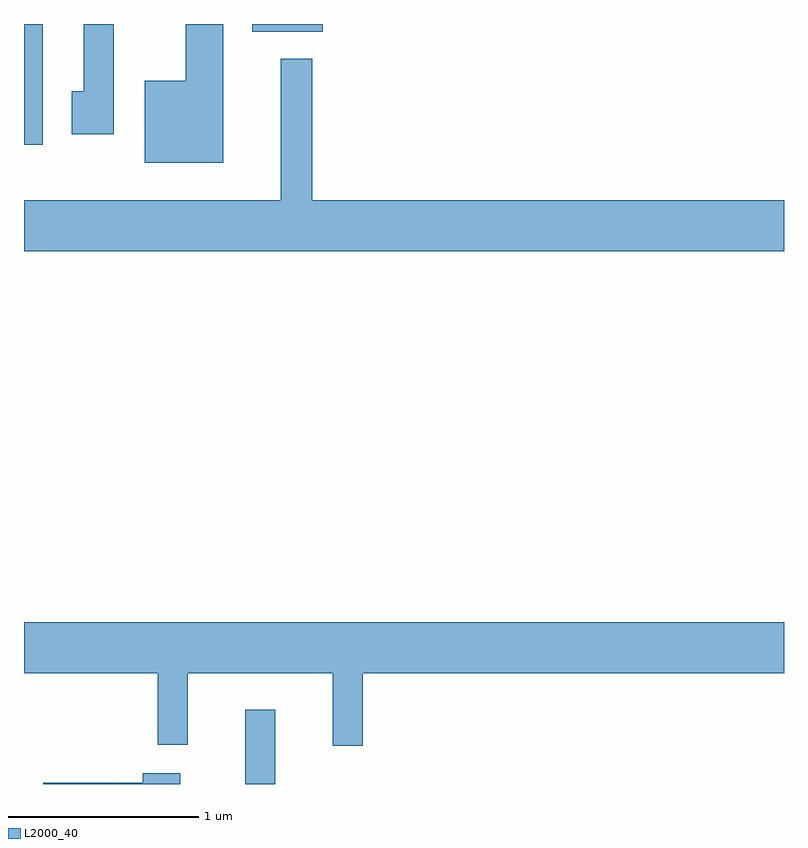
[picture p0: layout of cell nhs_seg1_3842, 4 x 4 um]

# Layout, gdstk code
import gdstk
lib = gdstk.Library(unit=1e-6, precision=1e-09)
def R(c, l, rs):  # rectangles x0, y0, x1, y1
    for r in rs: c.add(gdstk.rectangle(r[:2], r[2:], *l))
def P(c, l, *ps):  # polygons
    for p in ps: c.add(gdstk.Polygon(p, *l))
L2000_40 = (2000, 40)

nhs_seg1_3842 = lib.new_cell('nhs_seg1_3842')
R(nhs_seg1_3842, L2000_40, [(302.776,845.712,302.934,846.103), (301.611,849.076,301.709,849.712), (302.811,849.671,303.184,849.712)])
P(nhs_seg1_3842, L2000_40, [(302.659,849.712),(302.461,849.712),(302.461,849.414),(302.246,849.414),(302.246,848.981),(302.659,848.981)],
  [(302.084,849.712),(301.926,849.712),(301.926,849.359),(301.861,849.359),(301.861,849.131),(302.084,849.131)],
  [(305.611,848.784),(303.129,848.784),(303.129,849.528),(302.961,849.528),(302.961,848.784),(301.611,848.784),(301.611,848.516),(305.611,848.516)],
  [(303.394,846.296),(305.611,846.296),(305.611,846.564),(301.611,846.564),(301.611,846.296),(302.316,846.296),(302.316,845.918),(302.474,845.918),(302.474,846.296),(303.236,846.296),(303.236,845.913),(303.394,845.913)],
  [(302.434,845.769),(302.236,845.769),(302.236,845.719),(301.711,845.719),(301.711,845.712),(302.434,845.712)])

lib.write_gds('nhs_seg1_3842.gds')
